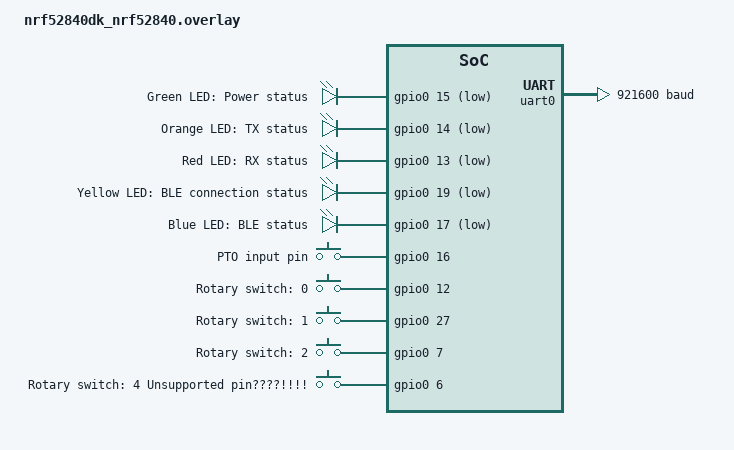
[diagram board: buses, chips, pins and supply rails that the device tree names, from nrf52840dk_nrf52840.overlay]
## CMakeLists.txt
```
cmake_minimum_required(VERSION 3.20.0)
set(BOARD nrf52840dk_nrf52840)
find_package(Zephyr REQUIRED HINTS $ENV{ZEPHYR_BASE})

project(ft_ble)

target_sources(app PRIVATE src/main.c)

add_subdirectory(src/tasks)
add_subdirectory(src/services)

include_directories(src/)
include_directories(src/tasks)
include_directories(src/services)
```

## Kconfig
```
source "Kconfig.zephyr"

menu "Bluetooth-V2 Kconfig Menu"

config UART_BUFFER_SIZE
    int "UART payload buffer element size"
    default 64
    help
      Size of the payload biffer in each RX and TX ,FIFO or Ring buffer, element



endmenu
```

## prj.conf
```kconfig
# UART console
CONFIG_CONSOLE=y
CONFIG_UART_CONSOLE=y
CONFIG_SERIAL=y
CONFIG_UART_ASYNC_API=y
CONFIG_UART_INTERRUPT_DRIVEN=y
CONFIG_UART_LINE_CTRL=y
CONFIG_UART_USE_RUNTIME_CONFIGURE=y

# GPIO
CONFIG_GPIO=y

# CONFIG_SYSTEM_WORKQUEUE_STACK_SIZE=

# Bluetooth
CONFIG_BT=y
CONFIG_BT_PERIPHERAL=y
# Enable support for device name runtime selection
CONFIG_BT_HCI=y
CONFIG_BT_DEVICE_NAME_DYNAMIC=y

# Enable Coded PHY and Extended Advertising
# CONFIG_BT_HCI_RAW=y
CONFIG_BT_CTLR_PHY_CODED=y
CONFIG_BT_CTLR_ADV_EXT=y
CONFIG_BT_EXT_ADV=y
# CONFIG_BT_USER_PHY_UPDATE=y
CONFIG_BT_AUTO_PHY_UPDATE=y

# Enable bonding
CONFIG_BT_SETTINGS=y
CONFIG_FLASH=y
CONFIG_FLASH_PAGE_LAYOUT=y
CONFIG_FLASH_MAP=y
CONFIG_NVS=y
CONFIG_SETTINGS=y

# This app requires more workqueue stack
CONFIG_SYSTEM_WORKQUEUE_STACK_SIZE=2048

# Config logger
CONFIG_LOG_MODE_DEFERRED=y
CONFIG_LOG=y
# CONFIG_USE_SEGGER_RTT=y
# CONFIG_LOG_BACKEND_RTT=n
CONFIG_LOG_BACKEND_UART=y
CONFIG_LOG_PRINTK=y
CONFIG_ASSERT=y

# PM
CONFIG_PM_DEVICE=y
CONFIG_PM_DEVICE_RUNTIME=y

# ZBUS
CONFIG_ZBUS=y
CONFIG_ZBUS_LOG_LEVEL_INF=y
CONFIG_THREAD_NAME=y

CONFIG_HEAP_MEM_POOL_SIZE=1024
```

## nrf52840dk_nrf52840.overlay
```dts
// To get started, press Ctrl+Space to bring up the completion menu and view the available nodes.

// You can also use the buttons in the sidebar to perform actions on nodes.
// Actions currently available include:

// * Enabling / disabling the node
// * Adding the bus to a bus
// * Removing the node
// * Connecting ADC channels

// For more help, browse the DeviceTree documentation at https://docs.zephyrproject.org/latest/guides/dts/index.html
// You can also visit the nRF DeviceTree extension documentation at https://nrfconnect.github.io/vscode-nrf-connect/devicetree/nrfdevicetree.html

/*
 * Copyright (c) 2022 Nordic Semiconductor ASA
 *
 * SPDX-License-Identifier: LicenseRef-Nordic-5-Clause
 */

 / {
	chosen {
		nordic,nus-uart = &uart0;
	};

	leds {
		compatible = "gpio-leds";
		led0: led_0 {
			gpios = <&gpio0 15 GPIO_ACTIVE_LOW>;
			label = "Green LED: Power status";
		};
		led1: led_1 {
			gpios = <&gpio0 14 GPIO_ACTIVE_LOW>;
			label = "Orange LED: TX status";
		};
		led2: led_2 {
			gpios = <&gpio0 13 GPIO_ACTIVE_LOW>;
			label = "Red LED: RX status";
		};
		led3: led_3 {
			gpios = <&gpio0 19 GPIO_ACTIVE_LOW>;
			label = "Yellow LED: BLE connection status";
		};
		led4: led_4 {
			gpios = < &gpio0 17 GPIO_ACTIVE_LOW>;
			label = "Blue LED: BLE status";
		};
	};

	buttons {
		compatible = "gpio-keys";
		button0: button_0 {
			gpios = <&gpio0 16 (GPIO_PULL_UP | GPIO_ACTIVE_HIGH)>;
			label = "PTO input pin";
		};
		button1: button_1 {
			gpios = <&gpio0 12 (GPIO_PULL_UP | GPIO_ACTIVE_HIGH)>;
			label = "Rotary switch: 0";
		};
		button2: button_2 {
			gpios = <&gpio0 27 (GPIO_PULL_UP | GPIO_ACTIVE_HIGH)>;
			label = "Rotary switch: 1";
		};
		button3: button_3 {
			gpios = <&gpio0 7 (GPIO_PULL_UP | GPIO_ACTIVE_HIGH)>;
			label = "Rotary switch: 2";
		};
		button4: button_4 {
			gpios = <&gpio0 6 (GPIO_PULL_UP | GPIO_ACTIVE_HIGH)>;
			label = "Rotary switch: 4 Unsupported pin????!!!!";
		};
	};

	aliases {
		led0 = &led0;
		led1 = &led1;
		led2 = &led2;
		led3 = &led3;
		led4 = &led4;
	};
};

// New mapping of UART pins for the FT Bluetooth Tag V5.2
&pinctrl {
	uart0_default: uart0_default {
		group1 {
			psels = <NRF_PSEL(UART_TX, 1, 13)>,
					<NRF_PSEL(UART_RTS, 0, 31)>;
			};
		group2 {
			psels = <NRF_PSEL(UART_RX, 0, 29)>,
					<NRF_PSEL(UART_CTS, 1, 12)>;
					bias-pull-up;
			};
	};

	uart0_sleep: uart0_sleep {
		group1 {
			psels = <NRF_PSEL(UART_TX, 1, 13)>,
					<NRF_PSEL(UART_RX, 0, 29)>,
					<NRF_PSEL(UART_RTS, 0, 31)>,
					<NRF_PSEL(UART_CTS, 1, 12)>;
					low-power-enable;
		};
	};
};

&uart0 {
	current-speed = <921600>;
};

&i2c0 {
	status = "disabled";
};

&qspi {
	status = "disabled";
};

&pwm0 {
	status = "disabled";
};
```

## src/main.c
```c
/**
 * @file main.c
 * @author Rohan Lourens
 * @brief 
 * @version 0.1
 * @date 2024-04-15
 * 
 * @copyright Copyright (c) 2024
 * 
 */

#include <soc.h>
#include <stdio.h>
#include <stddef.h>
#include <string.h>

#include <zephyr/kernel.h>
#include <zephyr/types.h>
#include <zephyr/device.h>
#include <zephyr/devicetree.h>
#include <zephyr/drivers/gpio.h>
#include <zephyr/drivers/uart.h>
#include <zephyr/settings/settings.h>
// #include <zephyr/drivers/led.h>

#include <zephyr/logging/log.h>

#include <zephyr/pm/pm.h>
#include <zephyr/pm/device.h>
#include <zephyr/pm/device_runtime.h>
#include <zephyr/pm/state.h>

#include <zephyr/bluetooth/bluetooth.h>
#include <zephyr/bluetooth/uuid.h>
#include <zephyr/bluetooth/gatt.h>
#include <zephyr/bluetooth/gap.h>
#include <zephyr/bluetooth/hci.h>
#include <zephyr/bluetooth/conn.h>

#include <zephyr/sys/util_macro.h>
#include <zephyr/zbus/zbus.h>

// Custom header files
#include <led_task/led_task.h>
#include <gpio_setup_task/gpio_setup_task.h>
#include <advertise_task/advertise_task.h>
#include <connection_task/connection_task.h>
#include <services/uart/uart.h>

#define PRIORITY        7
#define STACK_SIZE      2048
#define SLEEP_TIME      1000

#define LOG_MODULE_NAME         main
LOG_MODULE_REGISTER(LOG_MODULE_NAME);

void gpio_handler(struct k_work *work);
void rotary_handler(struct k_work *work);
K_WORK_DEFINE(gpio_worker, gpio_handler);
K_WORK_DEFINE(rotary_worker, rotary_handler);

struct led_msg led_task = 
{
	.startupAction = 1,
	.poweronAction = 1,
	.advertisingAction = 0,
	.errorAction = 0
};

struct advertise_msg advertise_task = 
{
	.adv_config = 1,
	.adv_start = 0,
	.adv_stop = 0,
	.adv_update = 0
};

struct uart_msg uart_service =
{
	.init = true
};

struct wq_info wq_led_handler1 = {.handle = 1};

ZBUS_CHAN_DEFINE(led_chan,
                struct led_msg,
                NULL,
                NULL,
                ZBUS_OBSERVERS(delay_handler1_lis),
                ZBUS_MSG_INIT(0)
);

ZBUS_CHAN_DEFINE(ble_chan,
                struct advertise_msg,
                NULL,
                NULL,
                ZBUS_OBSERVERS(adv_init_sub),
                ZBUS_MSG_INIT(0)
);

ZBUS_CHAN_DEFINE(ble_conn_chan,
                struct ble_init_msg,
                NULL,
                NULL,
                ZBUS_OBSERVERS(connection_sub),
                ZBUS_MSG_INIT(0)
);

ZBUS_CHAN_DEFINE(uart_chan,
                struct uart_msg,
                NULL,
                NULL,
                ZBUS_OBSERVERS(uart_sub),
                ZBUS_MSG_INIT(0)
);

void timer_1s_handler(struct k_timer *timer_1s)
{
	zbus_chan_pub(&led_chan, &led_task, K_NO_WAIT);
}
K_TIMER_DEFINE(timer_1s, timer_1s_handler, NULL);

void dh1_cb(const struct zbus_channel *chan)
{
	wq_led_handler1.chan = chan;
	k_work_submit(&wq_led_handler1.work);
}
ZBUS_LISTENER_DEFINE(delay_handler1_lis, dh1_cb);

int main(void)
{
	LOG_INF("FT_BLE STARTING UP");

	int ret;

	// Once off task
	k_work_submit(&gpio_worker);
	k_work_submit(&rotary_worker);

	k_work_init(&wq_led_handler1.work, wq_led_cb);

	// init uart here?
	ret = zbus_chan_pub(&uart_chan, &uart_service, K_MSEC(200));
	if (ret != 0)
	{
		LOG_ERR("Could not publish to uart channel");
		return 0;
	}

	ret = zbus_chan_pub(&led_chan, &led_task, K_MSEC(200));
	if (ret != 0)
	{
		LOG_ERR("Could not publish to led channel");
		return 0;
	}

	k_timer_start(&timer_1s, K_SECONDS(2), K_SECONDS(2));

	led_task.startupAction = 0;
	
	return 0;
}
```
